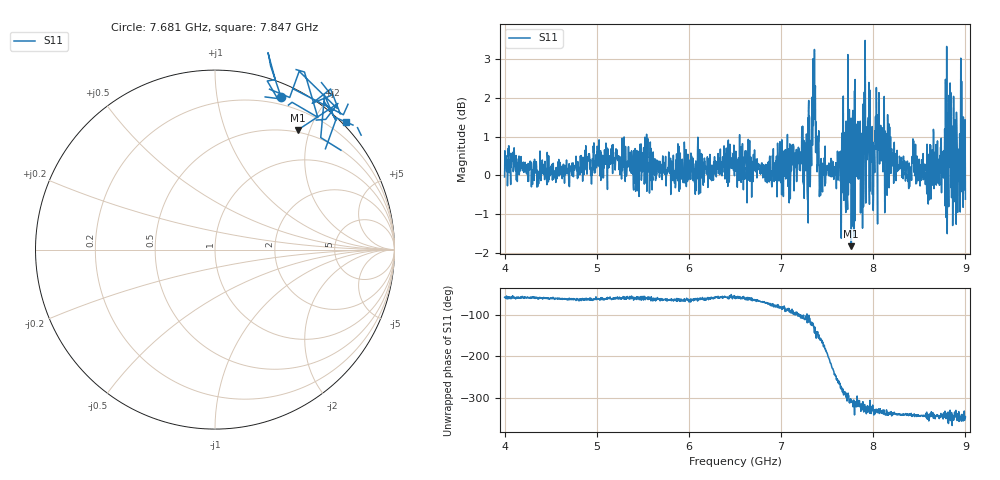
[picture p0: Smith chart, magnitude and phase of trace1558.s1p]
! Created with skrf 1.8.0 (http://scikit-rf.org).
# Hz S RI R 50.0
!freq ReS11 ImS11
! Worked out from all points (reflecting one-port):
!   1601 points, 4 GHz to 9 GHz, reference 50 ohm
!   lowest |S11| = -1.8 dB at 7.762 GHz (marker M1), VSWR 9.52, Z = 23.4 + j90.7 ohm
!   phase of S11 starts at -58 deg and turns -289 deg over the sweep
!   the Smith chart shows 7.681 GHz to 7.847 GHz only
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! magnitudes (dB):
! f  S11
! 4 GHz  0.0
! 4.625 GHz  -0.1
! 5.25 GHz  0.0
! 5.875 GHz  0.0
! 6.5 GHz  0.3
! 7.125 GHz  0.6
! 7.306 GHz  1.5
! 7.359 GHz  1.7
! 7.406 GHz  0.9
! 7.441 GHz  0.2
! 7.75 GHz  -0.2
! 7.762 GHz  -1.8
! 7.788 GHz  0.5
! 7.822 GHz  1.3
! 7.875 GHz  -0.3
! 7.928 GHz  1.3
! 7.944 GHz  1.3
! 7.962 GHz  2.2
! 7.981 GHz  0.5
! 8.075 GHz  1.1
! 8.375 GHz  0.2
! 8.434 GHz  0.3
! 8.766 GHz  0.3
! 8.822 GHz  2.1
! 8.875 GHz  0.5
! 8.919 GHz  -0.2
! 8.972 GHz  0.7
! 9 GHz  -0.6
